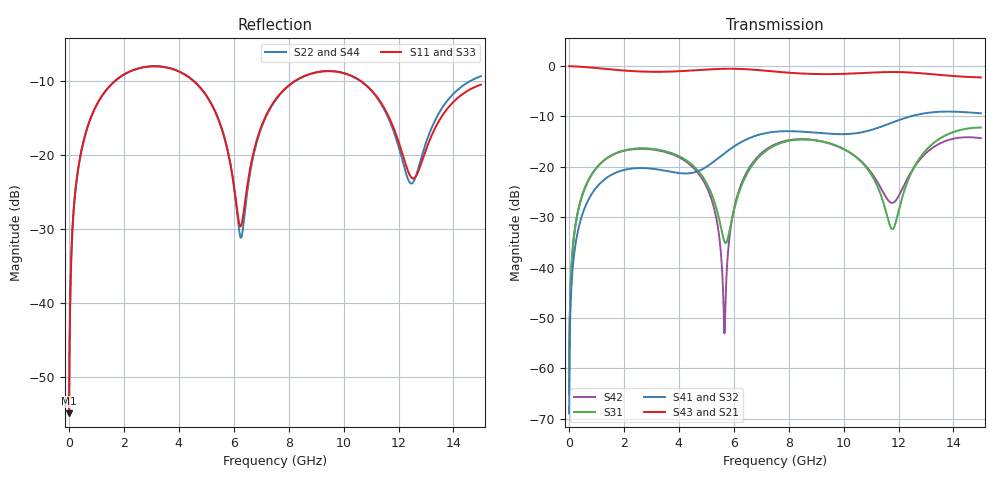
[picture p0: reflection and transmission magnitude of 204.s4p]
! Created with skrf 1.8.0 (http://scikit-rf.org).
# GHz S RI R 50.0
!freq ReS11 ImS11 ReS12 ImS12 ReS13 ImS13
! ReS14 ImS14
! ReS21 ImS21 ReS22 ImS22 ReS23 ImS23
! ReS24 ImS24
! ReS31 ImS31 ReS32 ImS32 ReS33 ImS33
! ReS34 ImS34
! ReS41 ImS41 ReS42 ImS42 ReS43 ImS43
! ReS44 ImS44
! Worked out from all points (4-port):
!   2499 points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, 5 MHz to 15 GHz, reference 50 ohm
!   strongest paths, dB at 5 MHz, 3.476 GHz, 7.19 GHz, 11.1 GHz, 15 GHz:
!     S43: 0.0, -1.1, -0.9, -1.3, -2.2
!     S21: 0.0, -1.1, -0.9, -1.3, -2.2
!     S41: -68.9, -20.7, -13.3, -12.5, -9.4
!     S32: -68.9, -20.8, -13.3, -12.5, -9.4
!     S31: -65.0, -16.9, -16.8, -22.4, -12.2
!     S42: -65.0, -17.0, -16.5, -21.9, -14.3
!   lowest |S11| = -54.9 dB at 5 MHz (marker M1), VSWR 1.00, Z = 50.1 + j0.11 ohm
!   |S11| at or under -10 dB: start of sweep to 1.69 GHz; 4.523 GHz to 8.248 GHz (3.726 GHz wide, 58.3 % of centre); 10.61 GHz to end of sweep
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0.005  0.00144 0.0011  0.9985 -0.0028  7.13e-05 0.000558  -6.93e-05 -0.000352
       0.9985 -0.0028  0.00144 0.0011  -6.93e-05 -0.000352  7.12e-05 0.000558
       7.13e-05 0.000558  -6.93e-05 -0.000352  0.00144 0.0011  0.9985 -0.0028
       -6.93e-05 -0.000352  7.12e-05 0.000558  0.9985 -0.0028  0.00144 0.0011
0.3126303  0.0193 0.0728  0.9738 -0.1752  0.00858 0.0336  -0.0071 -0.0211
           0.9738 -0.1752  0.0193 0.0728  -0.0071 -0.0211  0.00841 0.0336
           0.00858 0.0336  -0.0071 -0.0211  0.0193 0.0728  0.9738 -0.1752
           -0.0071 -0.0211  0.00841 0.0336  0.9738 -0.1752  0.0193 0.0728
1.569404  0.2341 0.1905  0.6236 -0.6829  0.1128 0.067  -0.0821 -0.0179
          0.6236 -0.6829  0.235 0.19  -0.0821 -0.0179  0.1102 0.0699
          0.1128 0.067  -0.0821 -0.0179  0.2341 0.1904  0.6237 -0.6829
          -0.0821 -0.0179  0.1102 0.0699  0.6237 -0.6829  0.2349 0.19
5.66486  0.0649 -0.1117  -0.8756 -0.344  -0.0167 -0.00698  -0.0452 0.1287
         -0.8756 -0.344  0.0605 -0.116  -0.0464 0.1283  -0.00222 -0.000159
         -0.0167 -0.00698  -0.0464 0.1283  0.0637 -0.1103  -0.8759 -0.3439
         -0.0452 0.1287  -0.00222 -0.000159  -0.8759 -0.3439  0.0603 -0.1142
6.715298  0.0607 0.0829  -0.9054 0.1733  0.0416 0.0992  0.0537 0.1926
          -0.9054 0.1733  0.0549 0.0816  0.0521 0.193  0.0531 0.0986
          0.0416 0.0992  0.0521 0.193  0.0605 0.0851  -0.9052 0.1735
          0.0537 0.1926  0.0531 0.0986  -0.9052 0.1735  0.0558 0.0832
9.947895  0.3502 -0.0736  0.1087 0.8304  0.1193 -0.0963  0.193 -0.0857
          0.1087 0.8304  0.3501 -0.0753  0.1936 -0.0827  0.1182 -0.0964
          0.1193 -0.0963  0.1936 -0.0827  0.3516 -0.0723  0.1071 0.8304
          0.193 -0.0857  0.1182 -0.0964  0.1071 0.8304  0.3503 -0.0754
15  0.2888 0.0704  0.3872 -0.6682  0.2366 -0.0674  -0.3269 -0.0943
    0.3872 -0.6682  0.3316 0.0702  -0.3232 -0.1001  0.192 0.00883
    0.2366 -0.0674  -0.3232 -0.1001  0.2915 0.0696  0.3913 -0.6661
    -0.3269 -0.0943  0.192 0.00883  0.3913 -0.6661  0.3285 0.074
